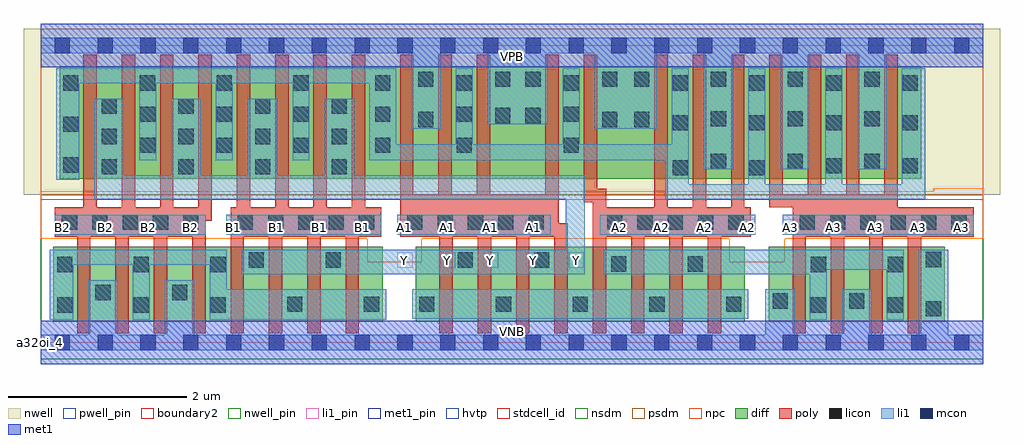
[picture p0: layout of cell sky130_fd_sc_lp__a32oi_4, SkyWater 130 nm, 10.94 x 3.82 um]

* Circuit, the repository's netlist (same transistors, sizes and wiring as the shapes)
* Copyright 2020 The SkyWater PDK Authors
*
* Licensed under the Apache License, Version 2.0 (the "License");
* you may not use this file except in compliance with the License.
* You may obtain a copy of the License at
*
*     https://www.apache.org/licenses/LICENSE-2.0
*
* Unless required by applicable law or agreed to in writing, software
* distributed under the License is distributed on an "AS IS" BASIS,
* WITHOUT WARRANTIES OR CONDITIONS OF ANY KIND, either express or implied.
* See the License for the specific language governing permissions and
* limitations under the License.
*
* SPDX-License-Identifier: Apache-2.0

.SUBCKT sky130_fd_sc_lp__a32oi_4 A1 A2 A3 B1 B2 VGND VNB VPB VPWR Y
*.PININFO A1:I A2:I A3:I B1:I B2:I VGND:I VNB:I VPB:I VPWR:I Y:O
MMPA0 pndA A1 VPWR VPB sky130_fd_pr__pfet_01v8_hvt m=4 w=1.26U l=0.15U mult=1 sa=0.265
+ sb=0.265 sd=0.28 area=0.063 perim=1.14
MMPA1 pndA A2 VPWR VPB sky130_fd_pr__pfet_01v8_hvt m=4 w=1.26U l=0.15U mult=1 sa=0.265
+ sb=0.265 sd=0.28 area=0.063 perim=1.14
MMPA2 pndA A3 VPWR VPB sky130_fd_pr__pfet_01v8_hvt m=4 w=1.26U l=0.15U mult=1 sa=0.265
+ sb=0.265 sd=0.28 area=0.063 perim=1.14
MMPB0 Y B1 pndA VPB sky130_fd_pr__pfet_01v8_hvt m=4 w=1.26U l=0.15U mult=1 sa=0.265
+ sb=0.265 sd=0.28 area=0.063 perim=1.14
MMPB1 Y B2 pndA VPB sky130_fd_pr__pfet_01v8_hvt m=4 w=1.26U l=0.15U mult=1 sa=0.265
+ sb=0.265 sd=0.28 area=0.063 perim=1.14
MMNA0 Y A1 sndA1 VNB sky130_fd_pr__nfet_01v8 m=4 w=0.84U l=0.15U mult=1 sa=0.265
+ sb=0.265 sd=0.28 area=0.063 perim=1.14
MMNA1 sndA1 A2 sndA2 VNB sky130_fd_pr__nfet_01v8 m=4 w=0.84U l=0.15U mult=1 sa=0.265
+ sb=0.265 sd=0.28 area=0.063 perim=1.14
MMNA2 sndA2 A3 VGND VNB sky130_fd_pr__nfet_01v8 m=4 w=0.84U l=0.15U mult=1 sa=0.265
+ sb=0.265 sd=0.28 area=0.063 perim=1.14
MMNB0 Y B1 sndB1 VNB sky130_fd_pr__nfet_01v8 m=4 w=0.84U l=0.15U mult=1 sa=0.265
+ sb=0.265 sd=0.28 area=0.063 perim=1.14
MMNB1 sndB1 B2 VGND VNB sky130_fd_pr__nfet_01v8 m=4 w=0.84U l=0.15U mult=1 sa=0.265
+ sb=0.265 sd=0.28 area=0.063 perim=1.14
.ENDS sky130_fd_sc_lp__a32oi_4

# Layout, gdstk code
import gdstk
lib = gdstk.Library(unit=1e-6, precision=1e-09)
def R(c, l, rs):  # rectangles x0, y0, x1, y1
    for r in rs: c.add(gdstk.rectangle(r[:2], r[2:], *l))
def A(c, l, x, y, w, h, nx, ny, dx, dy):  # array of equal rectangles
    R(c, l, [(x+i*dx, y+j*dy, x+i*dx+w, y+j*dy+h) for i in range(nx) for j in range(ny)])
def P(c, l, *ps):  # polygons
    for p in ps: c.add(gdstk.Polygon(p, *l))
nwell_pin = (64, 16)
nwell = (64, 20)
diff = (65, 20)
poly = (66, 20)
licon = (66, 44)
li1_pin = (67, 16)
li1 = (67, 20)
mcon = (67, 44)
met1_pin = (68, 16)
met1 = (68, 20)
hvtp = (78, 44)
stdcell_id = (81, 4)
nsdm = (93, 44)
psdm = (94, 20)
npc = (95, 20)
pwell_pin = (122, 16)
boundary2 = (236, 0)

sky130_fd_sc_lp__a32oi_4 = lib.new_cell('sky130_fd_sc_lp__a32oi_4')
R(sky130_fd_sc_lp__a32oi_4, nwell_pin, [(0,3.085,10.56,3.33)])
R(sky130_fd_sc_lp__a32oi_4, nwell, [(-0.19,1.655,10.75,3.52)])
R(sky130_fd_sc_lp__a32oi_4, diff, [(0.14,0.235,3.83,1.075), (4.2,0.235,7.89,1.075), (8.16,0.235,10.13,1.075), (0.21,1.835,9.87,3.095)])
P(sky130_fd_sc_lp__a32oi_4, poly, [(1.915,3.225),(1.765,3.225),(1.765,1.515),(1.485,1.515),(1.485,3.225),(1.335,3.225),(1.335,1.515),(1.055,1.515),(1.055,3.225),(0.905,3.225),(0.905,1.515),(0.625,1.515),(0.625,3.225),(0.475,3.225),(0.475,1.515),(0.155,1.515),(0.155,1.185),(0.405,1.185),(0.405,0.105),(0.555,0.105),(0.555,1.185),(0.835,1.185),(0.835,0.105),(0.985,0.105),(0.985,1.185),(1.265,1.185),(1.265,0.105),(1.415,0.105),(1.415,1.185),(1.695,1.185),(1.695,0.105),(1.845,0.105),(1.845,1.365),(1.915,1.365)],
  [(3.815,1.515),(3.635,1.515),(3.635,3.225),(3.485,3.225),(3.485,1.515),(3.205,1.515),(3.205,3.225),(3.055,3.225),(3.055,1.515),(2.775,1.515),(2.775,3.225),(2.625,3.225),(2.625,1.515),(2.345,1.515),(2.345,3.225),(2.195,3.225),(2.195,1.515),(2.125,1.515),(2.125,0.105),(2.275,0.105),(2.275,1.185),(2.555,1.185),(2.555,0.105),(2.705,0.105),(2.705,1.185),(2.985,1.185),(2.985,0.105),(3.135,0.105),(3.135,1.185),(3.415,1.185),(3.415,0.105),(3.565,0.105),(3.565,1.185),(3.815,1.185)],
  [(5.905,1.335),(5.805,1.335),(5.805,3.225),(5.655,3.225),(5.655,1.665),(5.035,1.665),(5.035,3.225),(4.885,3.225),(4.885,1.665),(4.605,1.665),(4.605,3.225),(4.455,3.225),(4.455,1.665),(4.175,1.665),(4.175,3.225),(4.025,3.225),(4.025,1.185),(4.465,1.185),(4.465,0.105),(4.615,0.105),(4.615,1.185),(4.895,1.185),(4.895,0.105),(5.045,0.105),(5.045,1.185),(5.325,1.185),(5.325,0.105),(5.475,0.105),(5.475,1.185),(5.755,1.185),(5.755,0.105),(5.905,0.105)],
  [(7.955,1.515),(7.885,1.515),(7.885,3.225),(7.735,3.225),(7.735,1.515),(7.455,1.515),(7.455,3.225),(7.305,3.225),(7.305,1.515),(7.025,1.515),(7.025,3.225),(6.875,3.225),(6.875,1.515),(6.335,1.515),(6.335,1.725),(6.235,1.725),(6.235,3.225),(6.085,3.225),(6.085,1.575),(6.185,1.575),(6.185,0.105),(6.335,0.105),(6.335,1.185),(6.615,1.185),(6.615,0.105),(6.765,0.105),(6.765,1.185),(7.045,1.185),(7.045,0.105),(7.195,0.105),(7.195,1.185),(7.475,1.185),(7.475,0.105),(7.625,0.105),(7.625,1.185),(7.955,1.185)],
  [(10.455,1.515),(9.605,1.515),(9.605,3.225),(9.455,3.225),(9.455,1.665),(9.175,1.665),(9.175,3.225),(9.025,3.225),(9.025,1.665),(8.745,1.665),(8.745,3.225),(8.595,3.225),(8.595,1.665),(8.315,1.665),(8.315,3.225),(8.165,3.225),(8.165,1.515),(8.425,1.515),(8.425,0.105),(8.575,0.105),(8.575,1.185),(8.855,1.185),(8.855,0.105),(9.005,0.105),(9.005,1.185),(9.285,1.185),(9.285,0.105),(9.435,0.105),(9.435,1.185),(9.715,1.185),(9.715,0.105),(9.865,0.105),(9.865,1.185),(10.455,1.185)])
A(sky130_fd_sc_lp__a32oi_4, licon, 0.18, 0.335, 0.17, 0.17, 3, 2, 0.86, 0.455)
A(sky130_fd_sc_lp__a32oi_4, licon, 4.24, 0.345, 0.17, 0.17, 5, 1, 0.86, 0)
A(sky130_fd_sc_lp__a32oi_4, licon, 0.235, 1.265, 0.17, 0.17, 5, 1, 0.34, 0)
A(sky130_fd_sc_lp__a32oi_4, licon, 2.205, 1.265, 0.17, 0.17, 5, 1, 0.34, 0)
A(sky130_fd_sc_lp__a32oi_4, licon, 4.105, 1.265, 0.17, 0.17, 5, 1, 0.34, 0)
A(sky130_fd_sc_lp__a32oi_4, licon, 6.345, 1.265, 0.17, 0.17, 5, 1, 0.34, 0)
A(sky130_fd_sc_lp__a32oi_4, licon, 8.505, 1.265, 0.17, 0.17, 6, 1, 0.34, 0)
A(sky130_fd_sc_lp__a32oi_4, licon, 0.68, 1.885, 0.17, 0.17, 4, 3, 0.86, 0.34)
A(sky130_fd_sc_lp__a32oi_4, licon, 7.51, 1.945, 0.17, 0.17, 3, 2, 0.86, 0.48)
A(sky130_fd_sc_lp__a32oi_4, licon, 1.11, 2.125, 0.17, 0.17, 3, 2, 0.86, 0.35)
A(sky130_fd_sc_lp__a32oi_4, licon, 3.745, 2.125, 0.17, 0.17, 1, 3, 0, 0.35)
A(sky130_fd_sc_lp__a32oi_4, licon, 4.66, 2.125, 0.17, 0.17, 1, 3, 0, 0.35)
A(sky130_fd_sc_lp__a32oi_4, licon, 5.86, 2.125, 0.17, 0.17, 1, 3, 0, 0.35)
A(sky130_fd_sc_lp__a32oi_4, licon, 7.08, 2.38, 0.17, 0.17, 4, 2, 0.86, 0.445)
A(sky130_fd_sc_lp__a32oi_4, licon, 0.25, 2.825, 0.17, 0.17, 4, 1, 0.86, 0)
A(sky130_fd_sc_lp__a32oi_4, licon, 6.65, 2.865, 0.17, 0.17, 4, 1, 0.86, 0)
R(sky130_fd_sc_lp__a32oi_4, licon, [(9.92,0.295,10.09,0.465), (8.63,0.335,8.8,0.505), (9.49,0.335,9.66,0.505), (2.76,0.345,2.93,0.515), (3.62,0.345,3.79,0.515), (8.2,0.38,8.37,0.55), (9.06,0.38,9.23,0.55), (0.61,0.475,0.78,0.645), (1.47,0.475,1.64,0.645), (8.63,0.79,8.8,0.96), (9.49,0.79,9.66,0.96), (6.39,0.795,6.56,0.965), (7.25,0.795,7.42,0.965), (2.33,0.84,2.5,1.01), (3.19,0.84,3.36,1.01), (4.67,0.84,4.84,1.01), (5.53,0.84,5.7,1.01), (9.92,0.845,10.09,1.015), (7.08,1.875,7.25,2.045), (7.94,1.875,8.11,2.045), (8.8,1.895,8.97,2.065), (9.66,1.895,9.83,2.065), (0.25,1.905,0.42,2.075), (0.25,2.36,0.42,2.53), (4.23,2.415,4.4,2.585), (6.29,2.415,6.46,2.585), (6.65,2.415,6.82,2.585), (5.09,2.46,5.26,2.63), (5.43,2.46,5.6,2.63), (4.23,2.865,4.4,3.035), (5.09,2.865,5.26,3.035), (5.43,2.865,5.6,3.035), (6.29,2.865,6.46,3.035)])
A(sky130_fd_sc_lp__a32oi_4, li1_pin, 3.995, 0.84, 0.17, 0.17, 5, 1, 0.48, 0)
A(sky130_fd_sc_lp__a32oi_4, li1_pin, 0.155, 1.21, 0.17, 0.17, 12, 1, 0.48, 0)
A(sky130_fd_sc_lp__a32oi_4, li1_pin, 6.395, 1.21, 0.17, 0.17, 9, 1, 0.48, 0)
R(sky130_fd_sc_lp__a32oi_4, li1, [(4.16,0.265,7.93,0.595), (0.155,1.21,1.845,1.435), (2.075,1.21,3.815,1.435), (3.995,1.21,5.715,1.435), (6.265,1.21,8.005,1.435), (8.315,1.21,10.455,1.435)])
P(sky130_fd_sc_lp__a32oi_4, li1, [(8.29,1.945),(8.29,3.245),(7.76,3.245),(7.76,1.945),(7.43,1.945),(7.43,3.245),(6.9,3.245),(6.9,2.395),(6.21,2.395),(6.21,3.245),(5.68,3.245),(5.68,2.445),(5.01,2.445),(5.01,3.245),(4.48,3.245),(4.48,2.395),(4.15,2.395),(4.15,3.245),(0,3.245),(0,3.415),(10.56,3.415),(10.56,3.245),(9.48,3.245),(9.48,1.945),(9.15,1.945),(9.15,3.245),(8.62,3.245),(8.62,1.945)],
  [(8.12,0.085),(8.12,0.595),(8.45,0.595),(8.45,0.085),(8.98,0.085),(8.98,0.595),(9.31,0.595),(9.31,0.085),(9.84,0.085),(9.84,1.04),(10.17,1.04),(10.17,0.085),(10.56,0.085),(10.56,-0.085),(0,-0.085),(0,0.085),(0.53,0.085),(0.53,0.7),(0.86,0.7),(0.86,0.085),(1.39,0.085),(1.39,0.7),(1.72,0.7),(1.72,0.085)],
  [(5.885,1.04),(5.885,1.605),(0.6,1.605),(0.6,2.735),(0.93,2.735),(0.93,1.875),(1.46,1.875),(1.46,2.735),(1.79,2.735),(1.79,1.875),(2.32,1.875),(2.32,2.735),(2.65,2.735),(2.65,1.875),(3.18,1.875),(3.18,2.735),(3.51,2.735),(3.51,1.875),(6.095,1.875),(6.095,0.765),(2.25,0.765),(2.25,1.04)],
  [(8.98,1.775),(9.65,1.775),(9.65,3.075),(9.91,3.075),(9.91,1.605),(7,1.605),(7,2.045),(3.68,2.045),(3.68,2.905),(3.01,2.905),(3.01,2.045),(2.82,2.045),(2.82,2.905),(2.15,2.905),(2.15,2.045),(1.96,2.045),(1.96,2.905),(1.29,2.905),(1.29,2.045),(1.1,2.045),(1.1,2.905),(0.43,2.905),(0.43,1.825),(0.17,1.825),(0.17,3.075),(3.98,3.075),(3.98,2.225),(4.65,2.225),(4.65,3.075),(4.84,3.075),(4.84,2.225),(5.85,2.225),(5.85,3.075),(6.04,3.075),(6.04,2.225),(7.07,2.225),(7.07,3.075),(7.26,3.075),(7.26,1.775),(7.93,1.775),(7.93,3.075),(8.12,3.075),(8.12,1.775),(8.79,1.775),(8.79,3.075),(8.98,3.075)],
  [(9.48,0.815),(8.81,0.815),(8.81,0.255),(8.62,0.255),(8.62,0.765),(6.31,0.765),(6.31,1.04),(9.67,1.04),(9.67,0.255),(9.48,0.255)],
  [(2.08,0.595),(3.87,0.595),(3.87,0.255),(1.89,0.255),(1.89,0.87),(1.22,0.87),(1.22,0.255),(1.03,0.255),(1.03,0.87),(0.36,0.87),(0.36,0.255),(0.1,0.255),(0.1,1.04),(2.08,1.04)])
A(sky130_fd_sc_lp__a32oi_4, mcon, 0.155, -0.085, 0.17, 0.17, 22, 2, 0.48, 3.33)
R(sky130_fd_sc_lp__a32oi_4, met1_pin, [(0,0,10.56,0.245), (0,3.085,10.56,3.33)])
R(sky130_fd_sc_lp__a32oi_4, met1, [(0,-0.245,10.56,0.245), (0,3.085,10.56,3.575)])
R(sky130_fd_sc_lp__a32oi_4, hvtp, [(0,1.6,10.56,3.33)])
R(sky130_fd_sc_lp__a32oi_4, stdcell_id, [(0,0,10.56,3.33)])
R(sky130_fd_sc_lp__a32oi_4, nsdm, [(0,-0.19,10.56,1.655)])
R(sky130_fd_sc_lp__a32oi_4, psdm, [(0,1.655,10.56,3.52)])
P(sky130_fd_sc_lp__a32oi_4, npc, [(10.56,1.73),(10.01,1.73),(10.01,1.695),(0,1.695),(0,1.165),(3.655,1.165),(3.655,0.9),(4.27,0.9),(4.27,1.165),(7.715,1.165),(7.715,0.9),(8.335,0.9),(8.335,1.165),(10.56,1.165)])
R(sky130_fd_sc_lp__a32oi_4, pwell_pin, [(0,0,10.56,0.245)])
R(sky130_fd_sc_lp__a32oi_4, boundary2, [(0,0,10.56,3.33)])
sky130_fd_sc_lp__a32oi_4.add(gdstk.Label('VNB', (5.28,0.123), layer=64, texttype=59))
sky130_fd_sc_lp__a32oi_4.add(gdstk.Label('VPB', (5.28,3.208), layer=64, texttype=5))
sky130_fd_sc_lp__a32oi_4.add(gdstk.Label('a32oi_4', (0,0), layer=83, texttype=44))
sky130_fd_sc_lp__a32oi_4.add(gdstk.Label('VPWR', (5.28,3.208), layer=68, texttype=5))
sky130_fd_sc_lp__a32oi_4.add(gdstk.Label('VGND', (5.28,0.123), layer=68, texttype=5))
sky130_fd_sc_lp__a32oi_4.add(gdstk.Label('Y', (4.08,0.925), layer=67, texttype=5))
sky130_fd_sc_lp__a32oi_4.add(gdstk.Label('Y', (4.56,0.925), layer=67, texttype=5))
sky130_fd_sc_lp__a32oi_4.add(gdstk.Label('Y', (5.04,0.925), layer=67, texttype=5))
sky130_fd_sc_lp__a32oi_4.add(gdstk.Label('Y', (5.52,0.925), layer=67, texttype=5))
sky130_fd_sc_lp__a32oi_4.add(gdstk.Label('Y', (6,0.925), layer=67, texttype=5))
sky130_fd_sc_lp__a32oi_4.add(gdstk.Label('A1', (4.08,1.295), layer=67, texttype=5))
sky130_fd_sc_lp__a32oi_4.add(gdstk.Label('A1', (4.56,1.295), layer=67, texttype=5))
sky130_fd_sc_lp__a32oi_4.add(gdstk.Label('A1', (5.04,1.295), layer=67, texttype=5))
sky130_fd_sc_lp__a32oi_4.add(gdstk.Label('A1', (5.52,1.295), layer=67, texttype=5))
sky130_fd_sc_lp__a32oi_4.add(gdstk.Label('A2', (6.48,1.295), layer=67, texttype=5))
sky130_fd_sc_lp__a32oi_4.add(gdstk.Label('A2', (6.96,1.295), layer=67, texttype=5))
sky130_fd_sc_lp__a32oi_4.add(gdstk.Label('A2', (7.44,1.295), layer=67, texttype=5))
sky130_fd_sc_lp__a32oi_4.add(gdstk.Label('A2', (7.92,1.295), layer=67, texttype=5))
sky130_fd_sc_lp__a32oi_4.add(gdstk.Label('A3', (8.4,1.295), layer=67, texttype=5))
sky130_fd_sc_lp__a32oi_4.add(gdstk.Label('A3', (8.88,1.295), layer=67, texttype=5))
sky130_fd_sc_lp__a32oi_4.add(gdstk.Label('A3', (9.36,1.295), layer=67, texttype=5))
sky130_fd_sc_lp__a32oi_4.add(gdstk.Label('A3', (9.84,1.295), layer=67, texttype=5))
sky130_fd_sc_lp__a32oi_4.add(gdstk.Label('A3', (10.32,1.295), layer=67, texttype=5))
sky130_fd_sc_lp__a32oi_4.add(gdstk.Label('B1', (2.16,1.295), layer=67, texttype=5))
sky130_fd_sc_lp__a32oi_4.add(gdstk.Label('B1', (2.64,1.295), layer=67, texttype=5))
sky130_fd_sc_lp__a32oi_4.add(gdstk.Label('B1', (3.12,1.295), layer=67, texttype=5))
sky130_fd_sc_lp__a32oi_4.add(gdstk.Label('B1', (3.6,1.295), layer=67, texttype=5))
sky130_fd_sc_lp__a32oi_4.add(gdstk.Label('B2', (0.24,1.295), layer=67, texttype=5))
sky130_fd_sc_lp__a32oi_4.add(gdstk.Label('B2', (0.72,1.295), layer=67, texttype=5))
sky130_fd_sc_lp__a32oi_4.add(gdstk.Label('B2', (1.2,1.295), layer=67, texttype=5))
sky130_fd_sc_lp__a32oi_4.add(gdstk.Label('B2', (1.68,1.295), layer=67, texttype=5))

lib.write_gds('sky130_fd_sc_lp__a32oi_4.gds')
